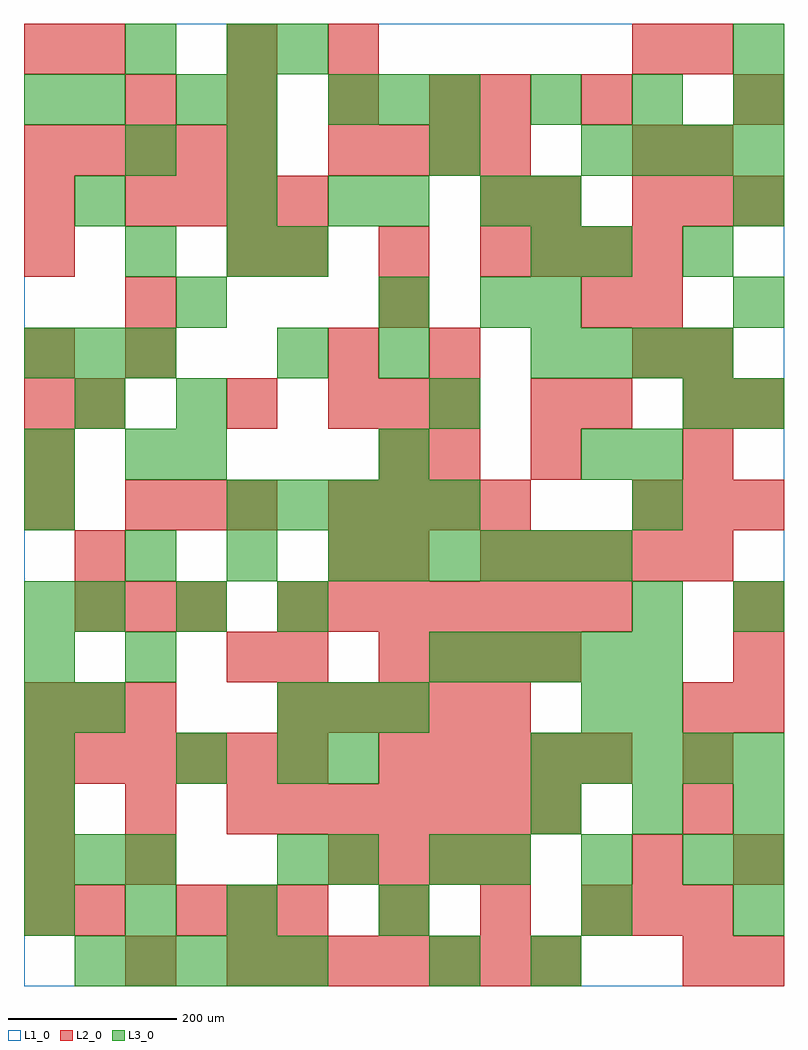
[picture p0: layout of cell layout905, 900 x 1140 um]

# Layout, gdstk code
import gdstk
lib = gdstk.Library(unit=1e-6, precision=1e-09)
def R(c, l, rs):  # rectangles x0, y0, x1, y1
    for r in rs: c.add(gdstk.rectangle(r[:2], r[2:], *l))
def A(c, l, x, y, w, h, nx, ny, dx, dy):  # array of equal rectangles
    R(c, l, [(x+i*dx, y+j*dy, x+i*dx+w, y+j*dy+h) for i in range(nx) for j in range(ny)])
L1_0 = (1, 0)
L2_0 = (2, 0)
L3_0 = (3, 0)

layout905 = lib.new_cell('layout905')
R(layout905, L1_0, [(0,0,900,1140)])
A(layout905, L2_0, 240, 0, 60, 60, 7, 1, 60, 0)
A(layout905, L2_0, 180, 60, 60, 60, 3, 1, 60, 0)
A(layout905, L2_0, 420, 60, 60, 60, 3, 1, 120, 0)
A(layout905, L2_0, 360, 120, 60, 60, 4, 3, 60, 420)
A(layout905, L2_0, 0, 180, 60, 60, 3, 1, 120, 0)
A(layout905, L2_0, 300, 180, 60, 60, 6, 1, 60, 0)
A(layout905, L2_0, 780, 180, 60, 60, 1, 3, 0, 60)
A(layout905, L2_0, 0, 240, 60, 60, 6, 1, 60, 0)
A(layout905, L2_0, 420, 240, 60, 60, 5, 1, 60, 0)
A(layout905, L2_0, 0, 300, 60, 60, 3, 1, 60, 0)
A(layout905, L2_0, 300, 300, 60, 60, 5, 1, 60, 0)
A(layout905, L2_0, 840, 300, 60, 60, 1, 3, 0, 60)
A(layout905, L2_0, 420, 360, 60, 60, 4, 1, 60, 0)
A(layout905, L2_0, 60, 420, 60, 60, 3, 1, 60, 0)
A(layout905, L2_0, 300, 420, 60, 60, 7, 1, 60, 0)
A(layout905, L2_0, 540, 480, 60, 60, 5, 1, 60, 0)
A(layout905, L2_0, 0, 540, 60, 60, 1, 4, 0, 60)
A(layout905, L2_0, 120, 540, 60, 60, 3, 1, 60, 0)
A(layout905, L2_0, 720, 540, 60, 60, 3, 2, 60, 360)
A(layout905, L2_0, 780, 600, 60, 60, 1, 3, 0, 60)
A(layout905, L2_0, 360, 660, 60, 60, 3, 1, 60, 0)
A(layout905, L2_0, 300, 840, 60, 60, 3, 1, 120, 0)
A(layout905, L2_0, 600, 840, 60, 60, 3, 1, 60, 0)
A(layout905, L2_0, 120, 900, 60, 60, 4, 1, 60, 0)
A(layout905, L2_0, 0, 960, 60, 60, 5, 1, 60, 0)
A(layout905, L2_0, 120, 1020, 60, 60, 4, 1, 120, 0)
R(layout905, L2_0, [(120,0,180,60), (780,0,840,60), (840,0,900,60), (0,60,60,120), (60,60,120,120), (720,60,780,120), (780,60,840,120), (0,120,60,180), (120,120,180,180), (720,120,780,180), (840,120,900,180), (240,360,300,420), (300,360,360,420), (60,480,120,540), (360,480,420,540), (420,480,480,540), (420,600,480,660), (480,600,540,660), (600,600,660,660), (60,660,120,720), (240,660,300,720), (600,660,660,720), (660,660,720,720), (840,660,900,720), (120,720,180,780), (360,720,420,780), (480,720,540,780), (720,720,780,780), (120,780,180,840), (420,780,480,840), (660,780,720,840), (720,780,780,840), (0,840,60,900), (240,840,300,900), (0,900,60,960), (540,900,600,960), (600,900,660,960), (720,960,780,1020), (780,960,840,1020), (540,1020,600,1080), (660,1020,720,1080), (840,1020,900,1080), (0,1080,60,1140), (60,1080,120,1140), (240,1080,300,1140), (360,1080,420,1140), (720,1080,780,1140), (780,1080,840,1140)])
A(layout905, L3_0, 60, 0, 60, 60, 5, 1, 60, 0)
A(layout905, L3_0, 0, 60, 60, 60, 3, 1, 120, 0)
A(layout905, L3_0, 0, 120, 60, 60, 3, 2, 60, 600)
A(layout905, L3_0, 540, 120, 60, 60, 3, 1, 120, 0)
A(layout905, L3_0, 0, 180, 60, 60, 1, 5, 0, 60)
A(layout905, L3_0, 600, 180, 60, 60, 3, 2, 120, 840)
A(layout905, L3_0, 600, 240, 60, 60, 5, 1, 60, 0)
A(layout905, L3_0, 300, 300, 60, 60, 3, 1, 60, 0)
A(layout905, L3_0, 720, 300, 60, 60, 1, 3, 0, 120)
A(layout905, L3_0, 120, 360, 60, 60, 1, 3, 0, 240)
A(layout905, L3_0, 480, 360, 60, 60, 5, 1, 60, 0)
A(layout905, L3_0, 60, 420, 60, 60, 3, 1, 120, 0)
A(layout905, L3_0, 120, 480, 60, 60, 3, 1, 120, 0)
A(layout905, L3_0, 420, 480, 60, 60, 5, 1, 60, 0)
A(layout905, L3_0, 240, 540, 60, 60, 5, 1, 60, 0)
A(layout905, L3_0, 180, 600, 60, 60, 3, 1, 240, 0)
A(layout905, L3_0, 180, 660, 60, 60, 3, 1, 300, 0)
A(layout905, L3_0, 840, 660, 60, 60, 1, 3, 0, 120)
A(layout905, L3_0, 600, 720, 60, 60, 4, 1, 60, 0)
A(layout905, L3_0, 600, 780, 60, 60, 1, 3, 0, 60)
A(layout905, L3_0, 240, 840, 60, 60, 1, 5, 0, 60)
A(layout905, L3_0, 660, 960, 60, 60, 4, 1, 60, 0)
A(layout905, L3_0, 360, 1020, 60, 60, 3, 1, 60, 0)
R(layout905, L3_0, [(480,0,540,60), (600,0,660,60), (420,60,480,120), (660,60,720,120), (840,60,900,120), (300,120,360,180), (360,120,420,180), (480,120,540,180), (840,120,900,180), (180,240,240,300), (300,240,360,300), (360,240,420,300), (60,300,120,360), (660,300,720,360), (840,420,900,480), (0,540,60,600), (0,600,60,660), (720,600,780,660), (60,660,120,720), (300,720,360,780), (420,720,480,780), (180,780,240,840), (420,780,480,840), (540,780,600,840), (300,840,360,900), (660,840,720,900), (780,840,840,900), (60,900,120,960), (360,900,420,960), (420,900,480,960), (540,900,600,960), (120,960,180,1020), (480,960,540,1020), (0,1020,60,1080), (60,1020,120,1080), (180,1020,240,1080), (120,1080,180,1140), (300,1080,360,1140), (840,1080,900,1140)])

lib.write_gds('layout905.gds')
